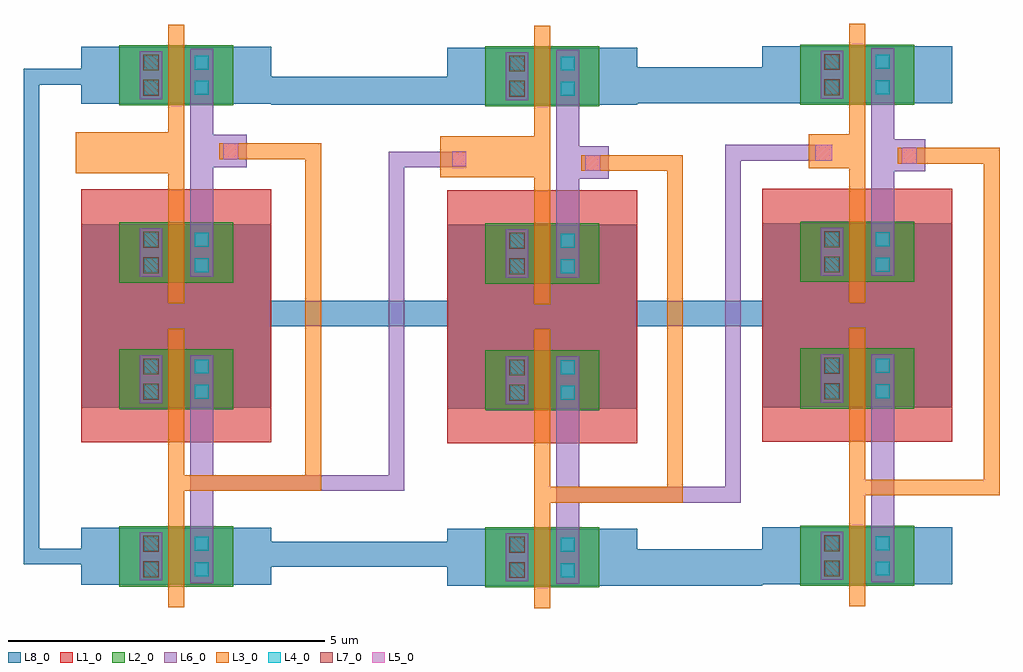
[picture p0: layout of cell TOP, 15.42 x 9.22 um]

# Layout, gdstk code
from math import pi, radians
import gdstk
lib = gdstk.Library(unit=1e-6, precision=1e-09)
def R(c, l, rs):  # rectangles x0, y0, x1, y1
    for r in rs: c.add(gdstk.rectangle(r[:2], r[2:], *l))
def P(c, l, *ps):  # polygons
    for p in ps: c.add(gdstk.Polygon(p, *l))
L1_0 = (1, 0)
L2_0 = (2, 0)
L3_0 = (3, 0)
L4_0 = (4, 0)
L5_0 = (5, 0)
L6_0 = (6, 0)
L7_0 = (7, 0)
L8_0 = (8, 0)

trans = lib.new_cell('TRANS')
R(trans, L2_0, [(-0.9,-0.475,0.9,0.475)])
R(trans, L4_0, [(-0.51,-0.31,-0.29,-0.09), (0.29,-0.31,0.51,-0.09), (-0.51,0.09,-0.29,0.31), (0.29,0.09,0.51,0.31)])
R(trans, L6_0, [(-0.58,-0.38,-0.22,0.38), (0.22,-0.38,0.58,0.38)])
trans.add(gdstk.FlexPath([(0,-0.8),(0,0.8)], 0.25, ends="flush", simple_path=True, layer=3, datatype=0))  # L3_0

inv = lib.new_cell('INV')
R(inv, L1_0, [(-1.5,1.8,1.5,3.8)])
R(inv, L3_0, [(-0.125,-0.25,0.125,2.25)])
R(inv, L6_0, [(-0.58,-0.42,-0.22,2.42)])
R(inv, L7_0, [(0.275,-0.325,0.525,-0.075), (0.275,0.075,0.525,0.325), (0.275,2.475,0.525,2.725), (0.275,2.875,0.525,3.125)])
R(inv, L8_0, [(-1.5,-0.45,1.5,0.45), (-1.5,2.35,1.5,3.25)])
inv.add(gdstk.Reference(trans, (0,0)))
inv.add(gdstk.Reference(trans, (0,2.8)))

inv2 = lib.new_cell('INV2')
R(inv2, L8_0, [(0,3.15,3,6.05)])
inv2.add(gdstk.Reference(inv, (1.5,0.8), rotation=pi, x_reflection=True))
inv2.add(gdstk.Reference(inv, (1.5,8.4), rotation=pi))
inv2.add(gdstk.Label('VDD', (1.11,4.6), layer=8, texttype=1))
inv2.add(gdstk.Label('VSS', (2.68,8.39), layer=8, texttype=1))
inv2.add(gdstk.Label('VSS', (2.65,0.75), layer=8, texttype=1))
inv2.add(gdstk.Label('A1', (1.48,7.11), layer=3, texttype=1))
inv2.add(gdstk.Label('A2', (1.52,1.95), layer=3, texttype=1))
inv2.add(gdstk.Label('Q1', (1.92,7.07), layer=6, texttype=1))
inv2.add(gdstk.Label('Q2', (1.94,1.95), layer=6, texttype=1))

invchain = lib.new_cell('INVCHAIN')
R(invchain, L3_0, [(5.665,6.79,7.255,7.44), (-0.09,6.85,1.5,7.5)])
R(invchain, L5_0, [(7.955,6.89,8.195,7.14), (2.24,7.075,2.48,7.325)])
R(invchain, L6_0, [(7.635,6.765,8.325,7.275), (1.92,6.95,2.61,7.46)])
P(invchain, L8_0, [(-0.915,0.675),(-0.915,4.07),(-0.665,4.07),(-0.665,0.925),(0,0.925),(0,0.675)],
  [(-0.915,5.29),(-0.915,8.5),(0,8.5),(0,8.25),(-0.665,8.25),(-0.665,5.29)])
invchain.add(gdstk.FlexPath([(7.34,1.775),(9.375,1.775),(9.375,7.015),(7.895,7.015)], 0.25, ends="flush", simple_path=True, layer=3, datatype=0))  # L3_0
invchain.add(gdstk.FlexPath([(1.625,1.96),(3.66,1.96),(3.66,7.2),(2.18,7.2)], 0.25, ends="flush", simple_path=True, layer=3, datatype=0))  # L3_0
invchain.add(gdstk.Reference(inv2, (0,0)))
invchain.add(gdstk.Reference(inv2, (5.78,-0.015)))
invchain.add(gdstk.Label('VSS', (-0.51,8.375), layer=8, texttype=1))
invchain.add(gdstk.Label('VDD', (8.035,4.54), layer=8, texttype=1))
invchain.add(gdstk.Label('VSS2', (8.48,8.12), layer=8, texttype=1))
invchain.add(gdstk.Label('VSS2B', (8.505,1.005), layer=8, texttype=1))
invchain.add(gdstk.Label('VDD', (2.3,4.6), layer=8, texttype=1))
invchain.add(gdstk.Label('IN2', (6.555,7.09), layer=3, texttype=1))
invchain.add(gdstk.Label('IN', (0.8,7.15), layer=3, texttype=1))
invchain.add(gdstk.Label('OUT', (1.89,2.105), layer=6, texttype=1))
invchain.add(gdstk.Label('OUT2', (7.73,2.155), layer=6, texttype=1))

inter = lib.new_cell('INTER')
R(inter, L3_0, [(12.1,7.3,12.74,7.83)])
R(inter, L5_0, [(6.465,7.325,6.685,7.565), (13.565,7.37,13.805,7.62), (12.2,7.415,12.47,7.665)])
R(inter, L6_0, [(13.245,7.245,13.935,7.755)])
R(inter, L8_0, [(9.39,0.7,11.365,1.275), (3.61,8.3,6.425,8.74), (9.39,8.325,11.365,8.89)])
inter.add(gdstk.FlexPath([(8.395,2.14),(10.765,2.14),(10.9,2.14),(10.9,7.54),(12.1,7.54),(12.47,7.54)], 0.25, ends="flush", simple_path=True, layer=6, datatype=0))  # L6_0
inter.add(gdstk.FlexPath([(6.685,7.435),(5.585,7.435),(5.585,2.325),(2.585,2.325)], 0.25, ends="flush", simple_path=True, layer=6, datatype=0))  # L6_0
inter.add(gdstk.FlexPath([(12.95,2.255),(14.985,2.255),(14.985,7.495),(13.505,7.495)], 0.25, ends="flush", simple_path=True, layer=3, datatype=0))  # L3_0
inter.add(gdstk.Reference(invchain, (0.61,0.365)))
inter.add(gdstk.Reference(inv2, (11.365,0.375)))
inter.add(gdstk.Label('VDD', (2.595,4.805), layer=8, texttype=0))
inter.add(gdstk.Label('VDD', (6.89,4.775), layer=8, texttype=0))
inter.add(gdstk.Label('VDD', (11.865,4.725), layer=8, texttype=0))
inter.add(gdstk.Label('VSSTOP', (10.36,1.02), layer=8, texttype=0))
inter.add(gdstk.Label('VSSTOP', (5.715,8.49), layer=8, texttype=0))
inter.add(gdstk.Label('A', (0.975,7.53), layer=3, texttype=1))
inter.add(gdstk.Label('Q', (13.26,2.01), layer=6, texttype=1))

top = lib.new_cell('TOP')
R(top, L8_0, [(3.61,1,6.39,1.4), (-0.305,4.435,-0.055,5.655), (3.2,4.8,12,5.2)])
top.add(gdstk.Reference(inter, (0,0)))

lib.write_gds('TOP.gds')
